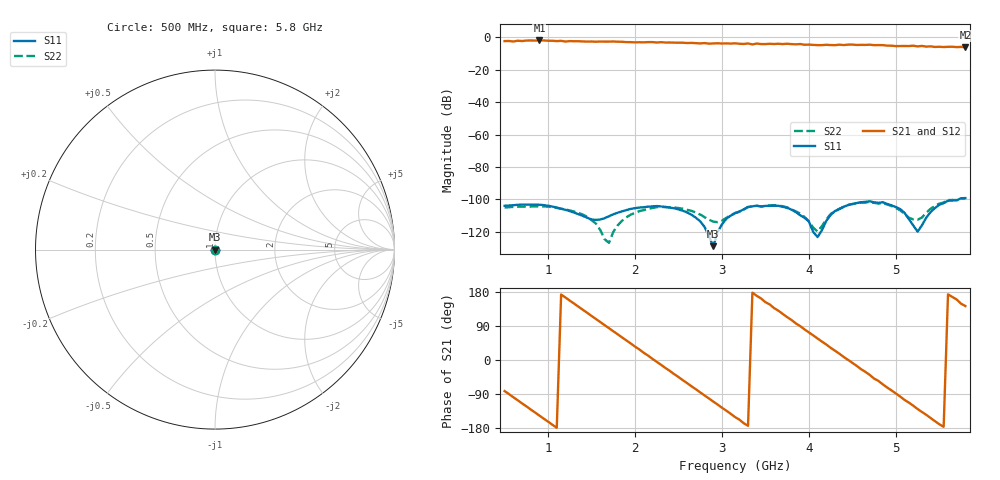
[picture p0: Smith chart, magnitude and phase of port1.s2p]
# GHZ S RI R 50
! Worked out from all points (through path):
!   107 points, 500 MHz to 5.8 GHz, reference 50 ohm
!   highest |S21| = -1.88 dB at 900 MHz (marker M1); lowest = -6.1 dB at 5.8 GHz (marker M2)
!   group delay of S21, straight-line fit = 448 ps
!   lowest |S11| = -129.0 dB at 2.9 GHz (marker M3), VSWR 1.00, Z = 50 - j9.72e-06 ohm
!   |S11| at or under -10 dB: start of sweep to end of sweep
!   |S22| runs from -126.9 to -99.3 dB; largest |S21 - S12| = 0.01
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0.5  5.3e-06 -3.4e-06  0.1069 -0.7624  0.1072 -0.7619  5.43e-06 -1.17e-06
0.65  3.26e-06 -5.89e-06  -0.2187 -0.7592  -0.2179 -0.759  5.07e-06 -2.94e-06
0.9  -1.71e-06 -6.57e-06  -0.6725 -0.4431  -0.6729 -0.4437  2.78e-06 -5.41e-06
1.15  -3.98e-06 -3.21e-06  -0.777 0.0986  -0.777 0.0988  -5.34e-07 -5.06e-06
1.4  -2.86e-06 -1.1e-06  -0.5059 0.553  -0.5062 0.554  -2.31e-06 -2.46e-06
1.75  -2.18e-06 -2.66e-06  0.1825 0.7268  0.1834 0.7277  7.57e-07 -6.26e-07
2.05  -5.01e-06 -2.38e-06  0.6266 0.3312  0.6262 0.3301  1.4e-06 -4.06e-06
2.3  -5.94e-06 9.08e-07  0.6956 -0.1568  0.6958 -0.1537  -2.12e-06 -5.39e-06
2.65  -1.69e-06 2.87e-06  0.238 -0.6344  0.242 -0.6333  -4.2e-06 -1.19e-06
2.9  -3.42e-07 -9.72e-08  -0.2194 -0.6126  -0.2181 -0.6133  -1.92e-06 -6.75e-07
3.15  -3.06e-06 -2.12e-06  -0.5712 -0.3231  -0.5709 -0.3275  -2.24e-06 -3e-06
3.4  -6.31e-06 4.07e-07  -0.6354 0.1198  -0.6387 0.1232  -5.7e-06 -2.62e-06
3.75  -2.42e-06 4.88e-06  -0.2505 0.5869  -0.2482 0.5902  -4.85e-06 2.78e-06
4.05  -2.57e-07 9.39e-07  0.2497 0.5318  0.2507 0.5311  -9.98e-07 8.56e-07
4.35  -4.94e-06 -6.58e-08  0.5721 0.1721  0.572 0.1773  -4.67e-06 -2e-06
4.5  -6.55e-06 2.95e-06  0.5954 -0.0788  0.598 -0.0819  -7.12e-06 -9.72e-08
4.75  -3.14e-06 7.39e-06  0.3782 -0.4356  0.377 -0.4363  -6.11e-06 4.8e-06
4.95  1.6e-06 6.28e-06  0.0944 -0.5473  0.095 -0.5476  -2.65e-06 5.62e-06
5.2  1.56e-06 6.36e-10  -0.2824 -0.4788  -0.2851 -0.4759  -1.6e-06 1.76e-06
5.4  -3.92e-06 -8.99e-07  -0.4721 -0.2393  -0.4724 -0.2417  -5.06e-06 6.57e-07
5.65  -7.36e-06 5.45e-06  -0.5002 0.1212  -0.5031 0.1293  -7.83e-06 5.41e-06
5.8  -4.61e-06 9.86e-06  -0.3911 0.3015  -0.3848 0.3064  -5.38e-06 9.33e-06
